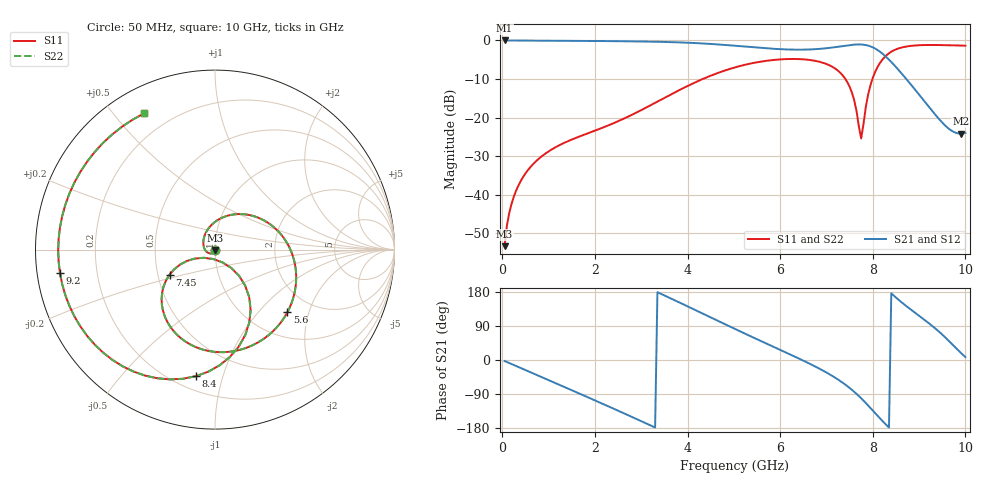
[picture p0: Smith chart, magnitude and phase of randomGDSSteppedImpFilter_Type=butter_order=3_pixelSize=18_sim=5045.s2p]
! freq	dB(S11)	phase(S11)	dB(S12)	phase(S12)
!  dB(S21)	phase(S21)	dB(S22)	phase(S22)
!S-par simulation data
#  GHz  S  DB  R 50
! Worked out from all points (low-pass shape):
!   200 points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, 50 MHz to 10 GHz, reference 50 ohm
!   highest |S21| = 0.00 dB at 50 MHz (marker M1); lowest = -24.2 dB at 9.9 GHz (marker M2)
!   |S21| within 3 dB of the highest: start of sweep to 8.164 GHz
!   lowest |S11| = -53.3 dB at 50 MHz (marker M3), VSWR 1.00, Z = 50 - j0.214 ohm
!   |S11| at or under -10 dB: start of sweep to 4.328 GHz; 7.408 GHz to 7.993 GHz (584.2 MHz wide, 7.59 % of centre)
!   |S22| runs from -53.3 to -1.2 dB; largest |S21 - S12| = 0
!   S11 on the Smith chart (normalised r, x): 50 MHz: 1.00, -0.00; 5.6 GHz: 1.50, -1.46; 7.45 GHz: 0.58, -0.17; 8.4 GHz: 0.28, -0.82; 9.2 GHz: 0.07, -0.08; 10 GHz: 0.11, +0.60
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0.05  -53.33 -84.4  -0.00 -2.7  -0.00 -2.7  -53.33 -84.4
0.2  -42.35 -97.5  -0.02 -10.7  -0.02 -10.7  -42.35 -97.5
0.5  -34.48 -116.8  -0.04 -26.6  -0.04 -26.6  -34.48 -116.8
1.15  -27.69 -152.8  -0.08 -61.0  -0.08 -61.0  -27.69 -152.9
1.75  -24.51 174.4  -0.12 -93.1  -0.12 -93.1  -24.51 174.3
2.65  -20.13 125.5  -0.21 -142.0  -0.21 -142.0  -20.13 125.3
3.4  -15.54 84.0  -0.36 176.1  -0.36 176.1  -15.54 83.9
4.3  -10.15 32.9  -0.76 124.2  -0.76 124.2  -10.15 32.8
5.05  -6.90 -10.1  -1.40 80.5  -1.40 80.5  -6.90 -10.1
5.6  -5.46 -40.9  -1.95 49.2  -1.95 49.2  -5.46 -40.9
6.7  -5.17 -102.1  -2.31 -13.6  -2.31 -13.6  -5.17 -102.1
7.45  -10.80 -151.2  -1.28 -68.9  -1.28 -68.9  -10.80 -151.3
7.6  -15.55 -157.9  -1.08 -84.0  -1.08 -84.0  -15.56 -158.1
7.75  -25.41 -100.4  -1.05 -101.1  -1.05 -101.1  -25.50 -100.3
8  -9.72 -54.3  -1.79 -133.3  -1.79 -133.3  -9.72 -54.2
8.35  -3.33 -93.3  -4.98 -178.3  -4.98 -178.3  -3.33 -93.2
8.4  -2.93 -98.7  -5.59 175.9  -5.59 175.9  -2.93 -98.6
8.75  -1.52 -132.9  -10.36 139.8  -10.36 139.8  -1.52 -132.9
9.2  -1.17 -171.3  -17.02 98.1  -17.02 98.1  -1.17 -171.2
9.55  -1.22 158.9  -21.91 61.4  -21.91 61.4  -1.22 159.0
9.9  -1.32 127.0  -24.16 19.0  -24.16 19.0  -1.32 127.2
10  -1.35 117.5  -23.96 7.8  -23.96 7.8  -1.35 117.6
